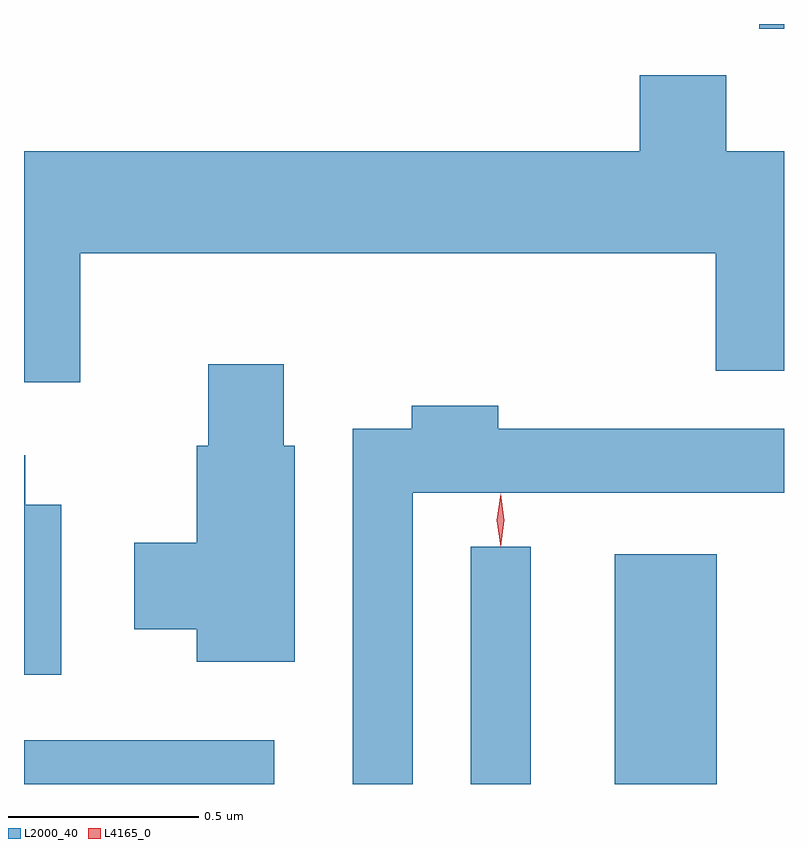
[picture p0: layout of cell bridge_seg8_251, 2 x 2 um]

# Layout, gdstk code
import gdstk
lib = gdstk.Library(unit=1e-6, precision=1e-09)
def R(c, l, rs):  # rectangles x0, y0, x1, y1
    for r in rs: c.add(gdstk.rectangle(r[:2], r[2:], *l))
def P(c, l, *ps):  # polygons
    for p in ps: c.add(gdstk.Polygon(p, *l))
L2000_40 = (2000, 40)
L4165_0 = (4165, 0)

bridge_seg8_251 = lib.new_cell('bridge_seg8_251')
R(bridge_seg8_251, L2000_40, [(1110.211,1861.659,1110.869,1861.774), (1111.386,1861.659,1111.544,1862.283), (1111.766,1861.659,1112.034,1862.264), (1112.146,1863.646,1112.211,1863.659)])
P(bridge_seg8_251, L2000_40, [(1110.359,1863.056),(1112.031,1863.056),(1112.031,1862.746),(1112.211,1862.746),(1112.211,1863.324),(1112.059,1863.324),(1112.059,1863.524),(1111.831,1863.524),(1111.831,1863.324),(1110.211,1863.324),(1110.211,1862.716),(1110.359,1862.716)],
  [(1110.924,1862.549),(1110.894,1862.549),(1110.894,1862.764),(1110.696,1862.764),(1110.696,1862.549),(1110.666,1862.549),(1110.666,1862.294),(1110.501,1862.294),(1110.501,1862.066),(1110.666,1862.066),(1110.666,1861.981),(1110.924,1861.981)],
  [(1111.234,1862.426),(1112.211,1862.426),(1112.211,1862.594),(1111.459,1862.594),(1111.459,1862.654),(1111.231,1862.654),(1111.231,1862.594),(1111.076,1862.594),(1111.076,1861.659),(1111.234,1861.659)],
  [(1110.309,1862.394),(1110.214,1862.394),(1110.214,1862.524),(1110.211,1862.524),(1110.211,1861.946),(1110.309,1861.946)])
P(bridge_seg8_251, L4165_0, [(1111.465,1862.284),(1111.465,1862.284),(1111.455,1862.353),(1111.465,1862.423),(1111.465,1862.423),(1111.466,1862.423),(1111.475,1862.353),(1111.466,1862.284)])

lib.write_gds('bridge_seg8_251.gds')
